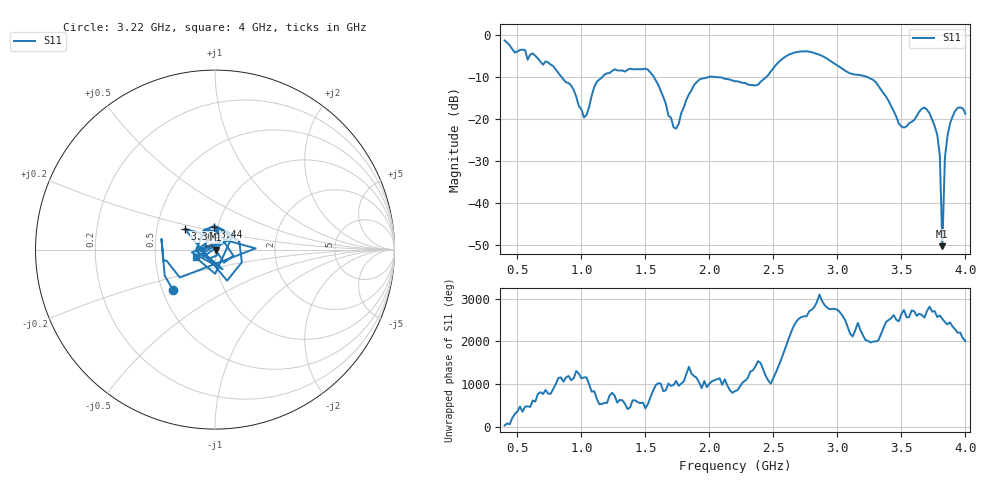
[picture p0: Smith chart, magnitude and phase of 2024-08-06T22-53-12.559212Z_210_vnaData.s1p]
!Created with skrf (http://scikit-rf.org).
# Hz S RI R 50.0
!freq ReS11 ImS11
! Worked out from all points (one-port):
!   181 points, 400 MHz to 4 GHz, reference 50 ohm
!   lowest |S11| = -50.3 dB at 3.82 GHz (marker M1), VSWR 1.01, Z = 50.3 + j0.0139 ohm
!   |S11| at or under -10 dB: 1.567 GHz to 1.988 GHz (420.2 MHz wide, 23.6 % of centre); 2.082 GHz to 2.442 GHz (360.1 MHz wide, 15.9 % of centre); 3.238 GHz to end of sweep (the widest 3 of 4)
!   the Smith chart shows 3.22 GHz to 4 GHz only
!   S11 on the Smith chart (normalised r, x): 3.22 GHz: 0.57, -0.29; 3.36 GHz: 0.69, +0.17; 3.44 GHz: 0.96, +0.24; 4 GHz: 0.80, -0.07
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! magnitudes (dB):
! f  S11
! 400 MHz  -1.2
! 860 MHz  -10.5
! 940 MHz  -13.0
! 1.02 GHz  -19.6
! 1.12 GHz  -11.1
! 1.3 GHz  -8.4
! 1.52 GHz  -8.2
! 1.6 GHz  -11.8
! 1.72 GHz  -21.9
! 1.76 GHz  -21.1
! 1.92 GHz  -10.6
! 2.2 GHz  -10.9
! 2.38 GHz  -11.8
! 2.66 GHz  -4.1
! 3.1 GHz  -9.1
! 3.22 GHz  -9.8
! 3.36 GHz  -13.8
! 3.44 GHz  -18.1
! 3.5 GHz  -21.7
! 3.56 GHz  -21.0
! 3.68 GHz  -17.2
! 3.78 GHz  -23.7
! 3.8 GHz  -28.6
! 3.82 GHz  -50.3
! 3.84 GHz  -29.2
! 3.86 GHz  -24.0
! 3.92 GHz  -18.0
! 4 GHz  -18.7
